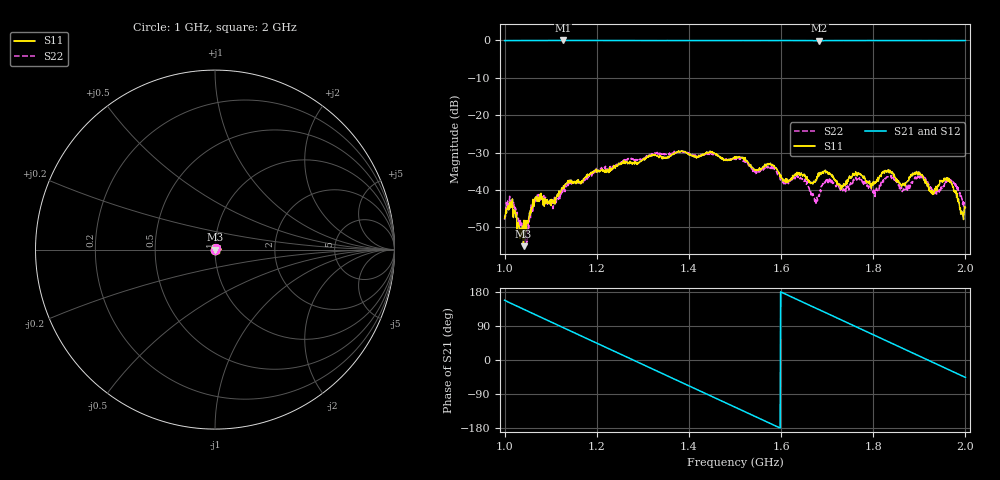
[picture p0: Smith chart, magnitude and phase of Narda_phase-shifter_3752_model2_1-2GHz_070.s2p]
#  HZ  S  DB  R  50.00
! Rohde & Schwarz Vector Network Analyzer
! Rohde-Schwarz,ZNB8-4Port,1311601044102961,2.82
! Created: UTC 1/17/2019, 2:47:17 PM
! freq[Hz]  db:S11  ang:S11  db:S21  ang:S21  db:S12  ang:S12  db:S22  ang:S22
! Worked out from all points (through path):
!   1001 points, 1 GHz to 2 GHz, reference 50 ohm
!   highest |S21| = -0.04 dB at 1.127 GHz (marker M1); lowest = -0.1 dB at 1.683 GHz (marker M2)
!   group delay of S21, straight-line fit = 1.56 ns
!   lowest |S11| = -55.0 dB at 1.041 GHz (marker M3), VSWR 1.00, Z = 49.9 - j0.103 ohm
!   |S11| at or under -10 dB: start of sweep to end of sweep
!   |S22| runs from -54.7 to -29.6 dB; largest |S21 - S12| = 0.011
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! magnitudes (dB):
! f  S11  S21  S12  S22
! 1 GHz  -47.6  -0.1  -0.1  -48.0
! 1.016 GHz  -44.2  -0.1  -0.1  -43.9
! 1.041 GHz  -55.0  -0.1  -0.1  -50.1
! 1.07 GHz  -43.0  -0.1  -0.1  -42.1
! 1.127 GHz  -39.2  0.0  -0.1  -39.5
! 1.167 GHz  -37.7  0.0  -0.1  -37.9
! 1.334 GHz  -31.1  -0.1  -0.1  -30.0
! 1.5 GHz  -31.5  -0.1  -0.1  -31.8
! 1.609 GHz  -37.9  -0.1  -0.1  -38.4
! 1.638 GHz  -35.8  -0.1  -0.1  -36.4
! 1.667 GHz  -37.9  -0.1  -0.1  -41.0
! 1.683 GHz  -36.0  -0.1  -0.1  -41.7
! 1.703 GHz  -35.6  -0.1  -0.1  -37.3
! 1.733 GHz  -39.1  -0.1  -0.1  -40.1
! 1.767 GHz  -35.4  -0.1  -0.1  -36.7
! 1.804 GHz  -38.3  -0.1  -0.1  -41.8
! 1.834 GHz  -34.8  -0.1  -0.1  -36.6
! 1.866 GHz  -38.7  -0.1  -0.1  -39.7
! 1.903 GHz  -35.9  -0.1  -0.1  -36.7
! 1.928 GHz  -40.2  -0.1  -0.1  -40.9
! 1.961 GHz  -37.3  -0.1  -0.1  -38.0
! 2 GHz  -44.8  -0.1  -0.1  -44.8
